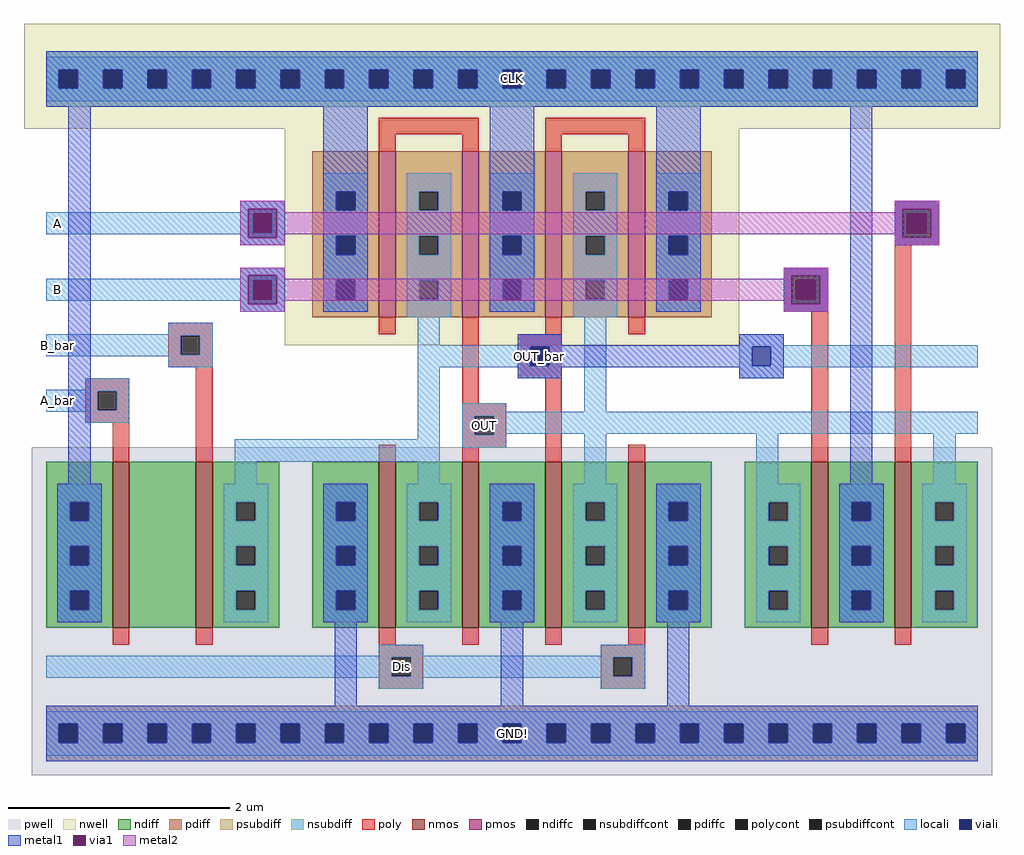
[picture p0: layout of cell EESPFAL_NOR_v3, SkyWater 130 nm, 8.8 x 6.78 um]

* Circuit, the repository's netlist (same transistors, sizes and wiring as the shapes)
* NGSPICE file created from EESPFAL_NOR_v3.ext - technology: sky130A

.subckt EESPFAL_NOR_v3 A A_bar B B_bar OUT OUT_bar Dis GND CLK
X0 a_n1820_550# A_bar CLK GND sky130_fd_pr__nfet_01v8 ad=9e+11p pd=4.2e+06u as=6e+12p ps=2.62e+07u w=1.5e+06u l=150000u
X1 OUT_bar Dis GND GND sky130_fd_pr__nfet_01v8 ad=1.8e+12p pd=8.4e+06u as=2.7e+12p ps=1.26e+07u w=1.5e+06u l=150000u
X2 OUT OUT_bar CLK CLK sky130_fd_pr__pfet_01v8 ad=9e+11p pd=4.2e+06u as=2.7e+12p ps=1.26e+07u w=1.5e+06u l=150000u M=2
X3 CLK OUT OUT_bar CLK sky130_fd_pr__pfet_01v8 ad=0p pd=0u as=9e+11p ps=4.2e+06u w=1.5e+06u l=150000u M=2
X4 OUT_bar B_bar a_n1820_550# GND sky130_fd_pr__nfet_01v8 ad=0p pd=0u as=0p ps=0u w=1.5e+06u l=150000u
X5 GND Dis OUT GND sky130_fd_pr__nfet_01v8 ad=0p pd=0u as=2.7e+12p ps=1.26e+07u w=1.5e+06u l=150000u
X6 OUT A CLK GND sky130_fd_pr__nfet_01v8 ad=0p pd=0u as=0p ps=0u w=1.5e+06u l=150000u
X7 GND OUT OUT_bar GND sky130_fd_pr__nfet_01v8 ad=0p pd=0u as=0p ps=0u w=1.5e+06u l=150000u
X8 OUT OUT_bar GND GND sky130_fd_pr__nfet_01v8 ad=0p pd=0u as=0p ps=0u w=1.5e+06u l=150000u
X9 CLK B OUT GND sky130_fd_pr__nfet_01v8 ad=0p pd=0u as=0p ps=0u w=1.5e+06u l=150000u
.ends

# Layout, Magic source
magic
tech sky130A
magscale 1 2
<< nwell >>
rect -2010 1450 -250 1640
rect -1540 1060 -720 1450
<< pwell >>
rect -1996 284 -264 876
<< nmos >>
rect -1850 550 -1820 850
rect -1700 550 -1670 850
rect -1370 550 -1340 850
rect -1220 550 -1190 850
rect -1070 550 -1040 850
rect -920 550 -890 850
rect -590 550 -560 850
rect -440 550 -410 850
<< pmos >>
rect -1370 1110 -1340 1410
rect -1220 1110 -1190 1410
rect -1070 1110 -1040 1410
rect -920 1110 -890 1410
<< ndiff >>
rect -1970 777 -1850 850
rect -1970 743 -1927 777
rect -1893 743 -1850 777
rect -1970 697 -1850 743
rect -1970 663 -1927 697
rect -1893 663 -1850 697
rect -1970 617 -1850 663
rect -1970 583 -1927 617
rect -1893 583 -1850 617
rect -1970 550 -1850 583
rect -1820 550 -1700 850
rect -1670 777 -1550 850
rect -1670 743 -1627 777
rect -1593 743 -1550 777
rect -1670 697 -1550 743
rect -1670 663 -1627 697
rect -1593 663 -1550 697
rect -1670 617 -1550 663
rect -1670 583 -1627 617
rect -1593 583 -1550 617
rect -1670 550 -1550 583
rect -1490 777 -1370 850
rect -1490 743 -1447 777
rect -1413 743 -1370 777
rect -1490 697 -1370 743
rect -1490 663 -1447 697
rect -1413 663 -1370 697
rect -1490 617 -1370 663
rect -1490 583 -1447 617
rect -1413 583 -1370 617
rect -1490 550 -1370 583
rect -1340 777 -1220 850
rect -1340 743 -1297 777
rect -1263 743 -1220 777
rect -1340 697 -1220 743
rect -1340 663 -1297 697
rect -1263 663 -1220 697
rect -1340 617 -1220 663
rect -1340 583 -1297 617
rect -1263 583 -1220 617
rect -1340 550 -1220 583
rect -1190 777 -1070 850
rect -1190 743 -1147 777
rect -1113 743 -1070 777
rect -1190 697 -1070 743
rect -1190 663 -1147 697
rect -1113 663 -1070 697
rect -1190 617 -1070 663
rect -1190 583 -1147 617
rect -1113 583 -1070 617
rect -1190 550 -1070 583
rect -1040 777 -920 850
rect -1040 743 -997 777
rect -963 743 -920 777
rect -1040 697 -920 743
rect -1040 663 -997 697
rect -963 663 -920 697
rect -1040 617 -920 663
rect -1040 583 -997 617
rect -963 583 -920 617
rect -1040 550 -920 583
rect -890 777 -770 850
rect -890 743 -847 777
rect -813 743 -770 777
rect -890 697 -770 743
rect -890 663 -847 697
rect -813 663 -770 697
rect -890 617 -770 663
rect -890 583 -847 617
rect -813 583 -770 617
rect -890 550 -770 583
rect -710 777 -590 850
rect -710 743 -667 777
rect -633 743 -590 777
rect -710 697 -590 743
rect -710 663 -667 697
rect -633 663 -590 697
rect -710 617 -590 663
rect -710 583 -667 617
rect -633 583 -590 617
rect -710 550 -590 583
rect -560 777 -440 850
rect -560 743 -517 777
rect -483 743 -440 777
rect -560 697 -440 743
rect -560 663 -517 697
rect -483 663 -440 697
rect -560 617 -440 663
rect -560 583 -517 617
rect -483 583 -440 617
rect -560 550 -440 583
rect -410 777 -290 850
rect -410 743 -367 777
rect -333 743 -290 777
rect -410 697 -290 743
rect -410 663 -367 697
rect -333 663 -290 697
rect -410 617 -290 663
rect -410 583 -367 617
rect -333 583 -290 617
rect -410 550 -290 583
<< pdiff >>
rect -1490 1337 -1370 1410
rect -1490 1303 -1447 1337
rect -1413 1303 -1370 1337
rect -1490 1257 -1370 1303
rect -1490 1223 -1447 1257
rect -1413 1223 -1370 1257
rect -1490 1177 -1370 1223
rect -1490 1143 -1447 1177
rect -1413 1143 -1370 1177
rect -1490 1110 -1370 1143
rect -1340 1337 -1220 1410
rect -1340 1303 -1297 1337
rect -1263 1303 -1220 1337
rect -1340 1257 -1220 1303
rect -1340 1223 -1297 1257
rect -1263 1223 -1220 1257
rect -1340 1177 -1220 1223
rect -1340 1143 -1297 1177
rect -1263 1143 -1220 1177
rect -1340 1110 -1220 1143
rect -1190 1337 -1070 1410
rect -1190 1303 -1147 1337
rect -1113 1303 -1070 1337
rect -1190 1257 -1070 1303
rect -1190 1223 -1147 1257
rect -1113 1223 -1070 1257
rect -1190 1177 -1070 1223
rect -1190 1143 -1147 1177
rect -1113 1143 -1070 1177
rect -1190 1110 -1070 1143
rect -1040 1337 -920 1410
rect -1040 1303 -997 1337
rect -963 1303 -920 1337
rect -1040 1257 -920 1303
rect -1040 1223 -997 1257
rect -963 1223 -920 1257
rect -1040 1177 -920 1223
rect -1040 1143 -997 1177
rect -963 1143 -920 1177
rect -1040 1110 -920 1143
rect -890 1337 -770 1410
rect -890 1303 -847 1337
rect -813 1303 -770 1337
rect -890 1257 -770 1303
rect -890 1223 -847 1257
rect -813 1223 -770 1257
rect -890 1177 -770 1223
rect -890 1143 -847 1177
rect -813 1143 -770 1177
rect -890 1110 -770 1143
<< ndiffc >>
rect -1927 743 -1893 777
rect -1927 663 -1893 697
rect -1927 583 -1893 617
rect -1627 743 -1593 777
rect -1627 663 -1593 697
rect -1627 583 -1593 617
rect -1447 743 -1413 777
rect -1447 663 -1413 697
rect -1447 583 -1413 617
rect -1297 743 -1263 777
rect -1297 663 -1263 697
rect -1297 583 -1263 617
rect -1147 743 -1113 777
rect -1147 663 -1113 697
rect -1147 583 -1113 617
rect -997 743 -963 777
rect -997 663 -963 697
rect -997 583 -963 617
rect -847 743 -813 777
rect -847 663 -813 697
rect -847 583 -813 617
rect -667 743 -633 777
rect -667 663 -633 697
rect -667 583 -633 617
rect -517 743 -483 777
rect -517 663 -483 697
rect -517 583 -483 617
rect -367 743 -333 777
rect -367 663 -333 697
rect -367 583 -333 617
<< pdiffc >>
rect -1447 1303 -1413 1337
rect -1447 1223 -1413 1257
rect -1447 1143 -1413 1177
rect -1297 1303 -1263 1337
rect -1297 1223 -1263 1257
rect -1297 1143 -1263 1177
rect -1147 1303 -1113 1337
rect -1147 1223 -1113 1257
rect -1147 1143 -1113 1177
rect -997 1303 -963 1337
rect -997 1223 -963 1257
rect -997 1143 -963 1177
rect -847 1303 -813 1337
rect -847 1223 -813 1257
rect -847 1143 -813 1177
<< psubdiff >>
rect -1970 377 -290 410
rect -1970 343 -1947 377
rect -1913 343 -1867 377
rect -1833 343 -1787 377
rect -1753 343 -1707 377
rect -1673 343 -1627 377
rect -1593 343 -1547 377
rect -1513 343 -1467 377
rect -1433 343 -1387 377
rect -1353 343 -1307 377
rect -1273 343 -1227 377
rect -1193 343 -1147 377
rect -1113 343 -1067 377
rect -1033 343 -987 377
rect -953 343 -907 377
rect -873 343 -827 377
rect -793 343 -747 377
rect -713 343 -667 377
rect -633 343 -587 377
rect -553 343 -507 377
rect -473 343 -427 377
rect -393 343 -347 377
rect -313 343 -290 377
rect -1970 310 -290 343
<< nsubdiff >>
rect -1970 1557 -290 1590
rect -1970 1523 -1947 1557
rect -1913 1523 -1867 1557
rect -1833 1523 -1787 1557
rect -1753 1523 -1707 1557
rect -1673 1523 -1627 1557
rect -1593 1523 -1547 1557
rect -1513 1523 -1467 1557
rect -1433 1523 -1387 1557
rect -1353 1523 -1307 1557
rect -1273 1523 -1227 1557
rect -1193 1523 -1147 1557
rect -1113 1523 -1067 1557
rect -1033 1523 -987 1557
rect -953 1523 -907 1557
rect -873 1523 -827 1557
rect -793 1523 -747 1557
rect -713 1523 -667 1557
rect -633 1523 -587 1557
rect -553 1523 -507 1557
rect -473 1523 -427 1557
rect -393 1523 -347 1557
rect -313 1523 -290 1557
rect -1970 1490 -290 1523
<< psubdiffcont >>
rect -1947 343 -1913 377
rect -1867 343 -1833 377
rect -1787 343 -1753 377
rect -1707 343 -1673 377
rect -1627 343 -1593 377
rect -1547 343 -1513 377
rect -1467 343 -1433 377
rect -1387 343 -1353 377
rect -1307 343 -1273 377
rect -1227 343 -1193 377
rect -1147 343 -1113 377
rect -1067 343 -1033 377
rect -987 343 -953 377
rect -907 343 -873 377
rect -827 343 -793 377
rect -747 343 -713 377
rect -667 343 -633 377
rect -587 343 -553 377
rect -507 343 -473 377
rect -427 343 -393 377
rect -347 343 -313 377
<< nsubdiffcont >>
rect -1947 1523 -1913 1557
rect -1867 1523 -1833 1557
rect -1787 1523 -1753 1557
rect -1707 1523 -1673 1557
rect -1627 1523 -1593 1557
rect -1547 1523 -1513 1557
rect -1467 1523 -1433 1557
rect -1387 1523 -1353 1557
rect -1307 1523 -1273 1557
rect -1227 1523 -1193 1557
rect -1147 1523 -1113 1557
rect -1067 1523 -1033 1557
rect -987 1523 -953 1557
rect -907 1523 -873 1557
rect -827 1523 -793 1557
rect -747 1523 -713 1557
rect -667 1523 -633 1557
rect -587 1523 -553 1557
rect -507 1523 -473 1557
rect -427 1523 -393 1557
rect -347 1523 -313 1557
<< poly >>
rect -1370 1440 -1190 1470
rect -1370 1410 -1340 1440
rect -1220 1410 -1190 1440
rect -1070 1440 -890 1470
rect -1070 1410 -1040 1440
rect -920 1410 -890 1440
rect -440 1297 -360 1320
rect -440 1263 -417 1297
rect -383 1263 -360 1297
rect -440 1240 -360 1263
rect -640 1177 -560 1200
rect -640 1143 -617 1177
rect -583 1143 -560 1177
rect -640 1120 -560 1143
rect -1750 1077 -1670 1100
rect -1370 1080 -1340 1110
rect -1750 1043 -1727 1077
rect -1693 1043 -1670 1077
rect -1750 1020 -1670 1043
rect -1900 977 -1820 1000
rect -1900 943 -1877 977
rect -1843 943 -1820 977
rect -1900 920 -1820 943
rect -1850 850 -1820 920
rect -1700 850 -1670 1020
rect -1220 955 -1190 1110
rect -1070 1080 -1040 1110
rect -920 1080 -890 1110
rect -1120 1057 -1040 1080
rect -1120 1023 -1097 1057
rect -1063 1023 -1040 1057
rect -1120 1000 -1040 1023
rect -1220 932 -1140 955
rect -1220 898 -1197 932
rect -1163 898 -1140 932
rect -1370 850 -1340 880
rect -1220 875 -1140 898
rect -1220 850 -1190 875
rect -1070 850 -1040 1000
rect -920 850 -890 880
rect -590 850 -560 1120
rect -440 850 -410 1240
rect -1850 520 -1820 550
rect -1700 520 -1670 550
rect -1370 520 -1340 550
rect -1220 520 -1190 550
rect -1070 520 -1040 550
rect -920 520 -890 550
rect -590 520 -560 550
rect -440 520 -410 550
rect -1370 497 -1290 520
rect -1370 463 -1347 497
rect -1313 463 -1290 497
rect -1370 440 -1290 463
rect -970 497 -890 520
rect -970 463 -947 497
rect -913 463 -890 497
rect -970 440 -890 463
<< polycont >>
rect -417 1263 -383 1297
rect -617 1143 -583 1177
rect -1727 1043 -1693 1077
rect -1877 943 -1843 977
rect -1097 1023 -1063 1057
rect -1197 898 -1163 932
rect -1347 463 -1313 497
rect -947 463 -913 497
<< locali >>
rect -1970 1557 -290 1580
rect -1970 1523 -1947 1557
rect -1913 1523 -1867 1557
rect -1833 1523 -1787 1557
rect -1753 1523 -1707 1557
rect -1673 1523 -1627 1557
rect -1593 1523 -1547 1557
rect -1513 1523 -1467 1557
rect -1433 1523 -1387 1557
rect -1353 1523 -1307 1557
rect -1273 1523 -1227 1557
rect -1193 1523 -1147 1557
rect -1113 1523 -1067 1557
rect -1033 1523 -987 1557
rect -953 1523 -907 1557
rect -873 1523 -827 1557
rect -793 1523 -747 1557
rect -713 1523 -667 1557
rect -633 1523 -587 1557
rect -553 1523 -507 1557
rect -473 1523 -427 1557
rect -393 1523 -347 1557
rect -313 1523 -290 1557
rect -1970 1500 -290 1523
rect -1470 1337 -1390 1370
rect -1620 1300 -1540 1320
rect -1970 1297 -1540 1300
rect -1970 1263 -1597 1297
rect -1563 1263 -1540 1297
rect -1970 1260 -1540 1263
rect -1620 1240 -1540 1260
rect -1470 1303 -1447 1337
rect -1413 1303 -1390 1337
rect -1470 1257 -1390 1303
rect -1470 1223 -1447 1257
rect -1413 1223 -1390 1257
rect -1620 1180 -1540 1200
rect -1970 1177 -1540 1180
rect -1970 1143 -1597 1177
rect -1563 1143 -1540 1177
rect -1970 1140 -1540 1143
rect -1620 1120 -1540 1140
rect -1470 1177 -1390 1223
rect -1470 1143 -1447 1177
rect -1413 1143 -1390 1177
rect -1470 1120 -1390 1143
rect -1320 1337 -1240 1370
rect -1320 1303 -1297 1337
rect -1263 1303 -1240 1337
rect -1320 1257 -1240 1303
rect -1320 1223 -1297 1257
rect -1263 1223 -1240 1257
rect -1320 1177 -1240 1223
rect -1320 1143 -1297 1177
rect -1263 1143 -1240 1177
rect -1320 1110 -1240 1143
rect -1170 1337 -1090 1370
rect -1170 1303 -1147 1337
rect -1113 1303 -1090 1337
rect -1170 1257 -1090 1303
rect -1170 1223 -1147 1257
rect -1113 1223 -1090 1257
rect -1170 1177 -1090 1223
rect -1170 1143 -1147 1177
rect -1113 1143 -1090 1177
rect -1170 1120 -1090 1143
rect -1020 1337 -940 1370
rect -1020 1303 -997 1337
rect -963 1303 -940 1337
rect -1020 1257 -940 1303
rect -1020 1223 -997 1257
rect -963 1223 -940 1257
rect -1020 1177 -940 1223
rect -1020 1143 -997 1177
rect -963 1143 -940 1177
rect -1020 1110 -940 1143
rect -870 1337 -790 1370
rect -870 1303 -847 1337
rect -813 1303 -790 1337
rect -870 1257 -790 1303
rect -870 1223 -847 1257
rect -813 1223 -790 1257
rect -440 1297 -360 1320
rect -440 1263 -417 1297
rect -383 1263 -360 1297
rect -440 1240 -360 1263
rect -870 1177 -790 1223
rect -870 1143 -847 1177
rect -813 1143 -790 1177
rect -870 1120 -790 1143
rect -640 1177 -560 1200
rect -640 1143 -617 1177
rect -583 1143 -560 1177
rect -640 1120 -560 1143
rect -1750 1080 -1670 1100
rect -1970 1077 -1670 1080
rect -1970 1043 -1727 1077
rect -1693 1043 -1670 1077
rect -1970 1040 -1670 1043
rect -1750 1020 -1670 1040
rect -1300 1060 -1260 1110
rect -1120 1060 -1040 1080
rect -1300 1057 -1040 1060
rect -1300 1023 -1097 1057
rect -1063 1023 -1040 1057
rect -1300 1020 -1040 1023
rect -1900 980 -1820 1000
rect -1970 977 -1820 980
rect -1970 943 -1877 977
rect -1843 943 -1820 977
rect -1970 940 -1820 943
rect -1900 920 -1820 940
rect -1300 890 -1260 1020
rect -1120 1000 -1040 1020
rect -1630 850 -1260 890
rect -1220 940 -1140 955
rect -1000 940 -960 1110
rect -720 1060 -640 1080
rect -720 1057 -290 1060
rect -720 1023 -697 1057
rect -663 1023 -290 1057
rect -720 1020 -290 1023
rect -720 1000 -640 1020
rect -1220 932 -290 940
rect -1220 898 -1197 932
rect -1163 900 -290 932
rect -1163 898 -1140 900
rect -1220 875 -1140 898
rect -1630 810 -1590 850
rect -1300 810 -1260 850
rect -1000 810 -960 900
rect -690 810 -650 900
rect -370 810 -330 900
rect -1950 777 -1870 810
rect -1950 743 -1927 777
rect -1893 743 -1870 777
rect -1950 697 -1870 743
rect -1950 663 -1927 697
rect -1893 663 -1870 697
rect -1950 617 -1870 663
rect -1950 583 -1927 617
rect -1893 583 -1870 617
rect -1950 560 -1870 583
rect -1650 777 -1570 810
rect -1650 743 -1627 777
rect -1593 743 -1570 777
rect -1650 697 -1570 743
rect -1650 663 -1627 697
rect -1593 663 -1570 697
rect -1650 617 -1570 663
rect -1650 583 -1627 617
rect -1593 583 -1570 617
rect -1650 560 -1570 583
rect -1470 777 -1390 810
rect -1470 743 -1447 777
rect -1413 743 -1390 777
rect -1470 697 -1390 743
rect -1470 663 -1447 697
rect -1413 663 -1390 697
rect -1470 617 -1390 663
rect -1470 583 -1447 617
rect -1413 583 -1390 617
rect -1470 560 -1390 583
rect -1320 777 -1240 810
rect -1320 743 -1297 777
rect -1263 743 -1240 777
rect -1320 697 -1240 743
rect -1320 663 -1297 697
rect -1263 663 -1240 697
rect -1320 617 -1240 663
rect -1320 583 -1297 617
rect -1263 583 -1240 617
rect -1320 560 -1240 583
rect -1170 777 -1090 810
rect -1170 743 -1147 777
rect -1113 743 -1090 777
rect -1170 697 -1090 743
rect -1170 663 -1147 697
rect -1113 663 -1090 697
rect -1170 617 -1090 663
rect -1170 583 -1147 617
rect -1113 583 -1090 617
rect -1170 560 -1090 583
rect -1020 777 -940 810
rect -1020 743 -997 777
rect -963 743 -940 777
rect -1020 697 -940 743
rect -1020 663 -997 697
rect -963 663 -940 697
rect -1020 617 -940 663
rect -1020 583 -997 617
rect -963 583 -940 617
rect -1020 560 -940 583
rect -870 777 -790 810
rect -870 743 -847 777
rect -813 743 -790 777
rect -870 697 -790 743
rect -870 663 -847 697
rect -813 663 -790 697
rect -870 617 -790 663
rect -870 583 -847 617
rect -813 583 -790 617
rect -870 560 -790 583
rect -690 777 -610 810
rect -690 743 -667 777
rect -633 743 -610 777
rect -690 697 -610 743
rect -690 663 -667 697
rect -633 663 -610 697
rect -690 617 -610 663
rect -690 583 -667 617
rect -633 583 -610 617
rect -690 560 -610 583
rect -540 777 -460 810
rect -540 743 -517 777
rect -483 743 -460 777
rect -540 697 -460 743
rect -540 663 -517 697
rect -483 663 -460 697
rect -540 617 -460 663
rect -540 583 -517 617
rect -483 583 -460 617
rect -540 560 -460 583
rect -390 777 -310 810
rect -390 743 -367 777
rect -333 743 -310 777
rect -390 697 -310 743
rect -390 663 -367 697
rect -333 663 -310 697
rect -390 617 -310 663
rect -390 583 -367 617
rect -333 583 -310 617
rect -390 560 -310 583
rect -1370 500 -1290 520
rect -970 500 -890 520
rect -1970 497 -890 500
rect -1970 463 -1347 497
rect -1313 463 -947 497
rect -913 463 -890 497
rect -1970 460 -890 463
rect -1370 440 -1290 460
rect -970 440 -890 460
rect -1970 377 -290 400
rect -1970 343 -1947 377
rect -1913 343 -1867 377
rect -1833 343 -1787 377
rect -1753 343 -1707 377
rect -1673 343 -1627 377
rect -1593 343 -1547 377
rect -1513 343 -1467 377
rect -1433 343 -1387 377
rect -1353 343 -1307 377
rect -1273 343 -1227 377
rect -1193 343 -1147 377
rect -1113 343 -1067 377
rect -1033 343 -987 377
rect -953 343 -907 377
rect -873 343 -827 377
rect -793 343 -747 377
rect -713 343 -667 377
rect -633 343 -587 377
rect -553 343 -507 377
rect -473 343 -427 377
rect -393 343 -347 377
rect -313 343 -290 377
rect -1970 320 -290 343
<< viali >>
rect -1947 1523 -1913 1557
rect -1867 1523 -1833 1557
rect -1787 1523 -1753 1557
rect -1707 1523 -1673 1557
rect -1627 1523 -1593 1557
rect -1547 1523 -1513 1557
rect -1467 1523 -1433 1557
rect -1387 1523 -1353 1557
rect -1307 1523 -1273 1557
rect -1227 1523 -1193 1557
rect -1147 1523 -1113 1557
rect -1067 1523 -1033 1557
rect -987 1523 -953 1557
rect -907 1523 -873 1557
rect -827 1523 -793 1557
rect -747 1523 -713 1557
rect -667 1523 -633 1557
rect -587 1523 -553 1557
rect -507 1523 -473 1557
rect -427 1523 -393 1557
rect -347 1523 -313 1557
rect -1597 1263 -1563 1297
rect -1447 1303 -1413 1337
rect -1447 1223 -1413 1257
rect -1597 1143 -1563 1177
rect -1447 1143 -1413 1177
rect -1147 1303 -1113 1337
rect -1147 1223 -1113 1257
rect -1147 1143 -1113 1177
rect -847 1303 -813 1337
rect -847 1223 -813 1257
rect -417 1263 -383 1297
rect -847 1143 -813 1177
rect -617 1143 -583 1177
rect -1097 1023 -1063 1057
rect -697 1023 -663 1057
rect -1927 743 -1893 777
rect -1927 663 -1893 697
rect -1927 583 -1893 617
rect -1447 743 -1413 777
rect -1447 663 -1413 697
rect -1447 583 -1413 617
rect -1147 743 -1113 777
rect -1147 663 -1113 697
rect -1147 583 -1113 617
rect -847 743 -813 777
rect -847 663 -813 697
rect -847 583 -813 617
rect -517 743 -483 777
rect -517 663 -483 697
rect -517 583 -483 617
rect -1947 343 -1913 377
rect -1867 343 -1833 377
rect -1787 343 -1753 377
rect -1707 343 -1673 377
rect -1627 343 -1593 377
rect -1547 343 -1513 377
rect -1467 343 -1433 377
rect -1387 343 -1353 377
rect -1307 343 -1273 377
rect -1227 343 -1193 377
rect -1147 343 -1113 377
rect -1067 343 -1033 377
rect -987 343 -953 377
rect -907 343 -873 377
rect -827 343 -793 377
rect -747 343 -713 377
rect -667 343 -633 377
rect -587 343 -553 377
rect -507 343 -473 377
rect -427 343 -393 377
rect -347 343 -313 377
<< metal1 >>
rect -1970 1557 -290 1590
rect -1970 1523 -1947 1557
rect -1913 1523 -1867 1557
rect -1833 1523 -1787 1557
rect -1753 1523 -1707 1557
rect -1673 1523 -1627 1557
rect -1593 1523 -1547 1557
rect -1513 1523 -1467 1557
rect -1433 1523 -1387 1557
rect -1353 1523 -1307 1557
rect -1273 1523 -1227 1557
rect -1193 1523 -1147 1557
rect -1113 1523 -1067 1557
rect -1033 1523 -987 1557
rect -953 1523 -907 1557
rect -873 1523 -827 1557
rect -793 1523 -747 1557
rect -713 1523 -667 1557
rect -633 1523 -587 1557
rect -553 1523 -507 1557
rect -473 1523 -427 1557
rect -393 1523 -347 1557
rect -313 1523 -290 1557
rect -1970 1490 -290 1523
rect -1930 810 -1890 1490
rect -1470 1337 -1390 1490
rect -1620 1306 -1540 1320
rect -1620 1254 -1606 1306
rect -1554 1254 -1540 1306
rect -1620 1240 -1540 1254
rect -1470 1303 -1447 1337
rect -1413 1303 -1390 1337
rect -1470 1257 -1390 1303
rect -1470 1223 -1447 1257
rect -1413 1223 -1390 1257
rect -1620 1186 -1540 1200
rect -1620 1134 -1606 1186
rect -1554 1134 -1540 1186
rect -1620 1120 -1540 1134
rect -1470 1177 -1390 1223
rect -1470 1143 -1447 1177
rect -1413 1143 -1390 1177
rect -1470 1120 -1390 1143
rect -1170 1337 -1090 1490
rect -1170 1303 -1147 1337
rect -1113 1303 -1090 1337
rect -1170 1257 -1090 1303
rect -1170 1223 -1147 1257
rect -1113 1223 -1090 1257
rect -1170 1177 -1090 1223
rect -1170 1143 -1147 1177
rect -1113 1143 -1090 1177
rect -1170 1120 -1090 1143
rect -870 1337 -790 1490
rect -870 1303 -847 1337
rect -813 1303 -790 1337
rect -870 1257 -790 1303
rect -870 1223 -847 1257
rect -813 1223 -790 1257
rect -870 1177 -790 1223
rect -870 1143 -847 1177
rect -813 1143 -790 1177
rect -870 1120 -790 1143
rect -640 1186 -560 1200
rect -640 1134 -626 1186
rect -574 1134 -560 1186
rect -640 1120 -560 1134
rect -1120 1060 -1040 1080
rect -720 1060 -640 1080
rect -1120 1057 -640 1060
rect -1120 1023 -1097 1057
rect -1063 1023 -697 1057
rect -663 1023 -640 1057
rect -1120 1020 -640 1023
rect -1120 1000 -1040 1020
rect -720 1000 -640 1020
rect -520 810 -480 1490
rect -440 1306 -360 1320
rect -440 1254 -426 1306
rect -374 1254 -360 1306
rect -440 1240 -360 1254
rect -1950 777 -1870 810
rect -1950 743 -1927 777
rect -1893 743 -1870 777
rect -1950 697 -1870 743
rect -1950 663 -1927 697
rect -1893 663 -1870 697
rect -1950 617 -1870 663
rect -1950 583 -1927 617
rect -1893 583 -1870 617
rect -1950 560 -1870 583
rect -1470 777 -1390 810
rect -1470 743 -1447 777
rect -1413 743 -1390 777
rect -1470 697 -1390 743
rect -1470 663 -1447 697
rect -1413 663 -1390 697
rect -1470 617 -1390 663
rect -1470 583 -1447 617
rect -1413 583 -1390 617
rect -1470 560 -1390 583
rect -1170 777 -1090 810
rect -1170 743 -1147 777
rect -1113 743 -1090 777
rect -1170 697 -1090 743
rect -1170 663 -1147 697
rect -1113 663 -1090 697
rect -1170 617 -1090 663
rect -1170 583 -1147 617
rect -1113 583 -1090 617
rect -1170 560 -1090 583
rect -870 777 -790 810
rect -870 743 -847 777
rect -813 743 -790 777
rect -870 697 -790 743
rect -870 663 -847 697
rect -813 663 -790 697
rect -870 617 -790 663
rect -870 583 -847 617
rect -813 583 -790 617
rect -870 560 -790 583
rect -540 777 -460 810
rect -540 743 -517 777
rect -483 743 -460 777
rect -540 697 -460 743
rect -540 663 -517 697
rect -483 663 -460 697
rect -540 617 -460 663
rect -540 583 -517 617
rect -483 583 -460 617
rect -540 560 -460 583
rect -1450 410 -1410 560
rect -1150 410 -1110 560
rect -850 410 -810 560
rect -1970 377 -290 410
rect -1970 343 -1947 377
rect -1913 343 -1867 377
rect -1833 343 -1787 377
rect -1753 343 -1707 377
rect -1673 343 -1627 377
rect -1593 343 -1547 377
rect -1513 343 -1467 377
rect -1433 343 -1387 377
rect -1353 343 -1307 377
rect -1273 343 -1227 377
rect -1193 343 -1147 377
rect -1113 343 -1067 377
rect -1033 343 -987 377
rect -953 343 -907 377
rect -873 343 -827 377
rect -793 343 -747 377
rect -713 343 -667 377
rect -633 343 -587 377
rect -553 343 -507 377
rect -473 343 -427 377
rect -393 343 -347 377
rect -313 343 -290 377
rect -1970 310 -290 343
<< via1 >>
rect -1606 1297 -1554 1306
rect -1606 1263 -1597 1297
rect -1597 1263 -1563 1297
rect -1563 1263 -1554 1297
rect -1606 1254 -1554 1263
rect -1606 1177 -1554 1186
rect -1606 1143 -1597 1177
rect -1597 1143 -1563 1177
rect -1563 1143 -1554 1177
rect -1606 1134 -1554 1143
rect -626 1177 -574 1186
rect -626 1143 -617 1177
rect -617 1143 -583 1177
rect -583 1143 -574 1177
rect -626 1134 -574 1143
rect -426 1297 -374 1306
rect -426 1263 -417 1297
rect -417 1263 -383 1297
rect -383 1263 -374 1297
rect -426 1254 -374 1263
<< metal2 >>
rect -1620 1306 -1540 1320
rect -1620 1254 -1606 1306
rect -1554 1300 -1540 1306
rect -440 1306 -360 1320
rect -440 1300 -426 1306
rect -1554 1260 -426 1300
rect -1554 1254 -1540 1260
rect -1620 1240 -1540 1254
rect -440 1254 -426 1260
rect -374 1254 -360 1306
rect -440 1240 -360 1254
rect -1620 1186 -1540 1200
rect -1620 1134 -1606 1186
rect -1554 1180 -1540 1186
rect -640 1186 -560 1200
rect -640 1180 -626 1186
rect -1554 1140 -626 1180
rect -1554 1134 -1540 1140
rect -1620 1120 -1540 1134
rect -640 1134 -626 1140
rect -574 1134 -560 1186
rect -640 1120 -560 1134
<< labels >>
rlabel metal1 s -1100 1020 -1060 1060 4 OUT_bar
port 1 nsew
rlabel metal1 s -1150 340 -1110 380 4 GND!
port 2 nsew
rlabel metal1 s -1150 1520 -1110 1560 4 CLK
port 3 nsew
rlabel locali s -1200 895 -1160 935 4 OUT
port 4 nsew
rlabel locali s -1960 1270 -1940 1290 4 A
port 5 nsew
rlabel locali s -1960 950 -1940 970 4 A_bar
port 6 nsew
rlabel locali s -1960 1150 -1940 1170 4 B
port 7 nsew
rlabel locali s -1960 1050 -1940 1070 4 B_bar
port 8 nsew
rlabel locali s -1350 460 -1310 500 4 Dis
port 9 nsew
<< end >>
